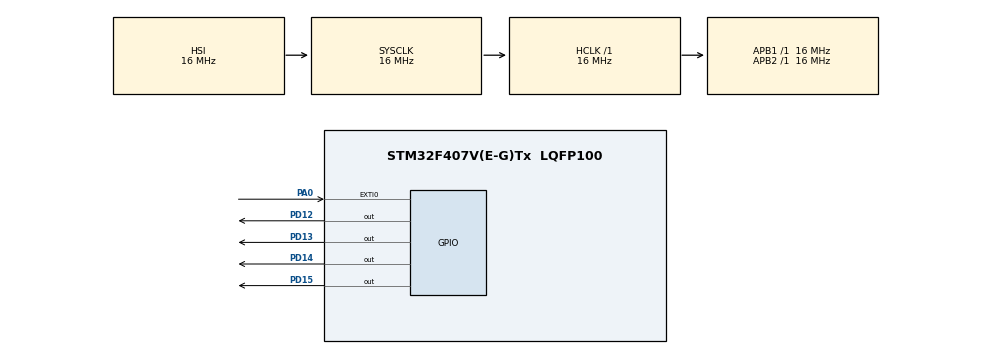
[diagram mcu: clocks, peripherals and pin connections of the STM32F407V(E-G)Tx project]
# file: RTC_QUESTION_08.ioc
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Mcu.Family=STM32F4
Mcu.Name=STM32F407V(E-G)Tx
Mcu.Package=LQFP100
NVIC.EXTI0_IRQn=true\:0\:0\:false\:false\:true\:true\:true\:true
NVIC.PriorityGroup=NVIC_PRIORITYGROUP_4
PA0-WKUP.Signal=GPXTI0
PD12.Signal=GPIO_Output
PD13.Signal=GPIO_Output
PD14.Signal=GPIO_Output
PD15.Signal=GPIO_Output
ProjectManager.HeapSize=0x200
ProjectManager.StackSize=0x400
ProjectManager.TargetToolchain=STM32CubeIDE
RCC.AHBFreq_Value=16000000
RCC.APB1Freq_Value=16000000
RCC.APB2Freq_Value=16000000
RCC.CortexFreq_Value=16000000
RCC.HSE_VALUE=25000000
RCC.HSI_VALUE=16000000
RCC.LSE_VALUE=32768
RCC.SYSCLKFreq_VALUE=16000000
RCC.VCOOutputFreq_Value=192000000
RTC.Date=29
RTC.Format=RTC_FORMAT_BIN
RTC.Hours=22
RTC.Minutes=0
RTC.Month=RTC_MONTH_OCTOBER
RTC.WeekDay=RTC_WEEKDAY_SUNDAY
VP_RTC_VS_RTC_Activate.Mode=RTC_Enabled
VP_RTC_VS_RTC_Calendar.Mode=RTC_Calendar
board=custom

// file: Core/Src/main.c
/* USER CODE BEGIN Header */
/**
  ******************************************************************************
  * @file           : main.c
  * @brief          : Main program body
  ******************************************************************************
  * @attention
  *
  * Copyright (c) 2026 STMicroelectronics.
  * All rights reserved.
  *
  * This software is licensed under terms that can be found in the LICENSE file
  * in the root directory of this software component.
  * If no LICENSE file comes with this software, it is provided AS-IS.
  *
  ******************************************************************************
  */
/* USER CODE END Header */
#include "main.h"

RTC_HandleTypeDef hrtc;

/* USER CODE BEGIN PV */
typedef struct {
	uint32_t event_number;
	RTC_TimeTypeDef time;
	RTC_DateTypeDef date;
}EventRecord ;

EventRecord log_buffer[5];
volatile uint8_t log_index = 0;
volatile uint32_t total_events = 0;

volatile int button_pressed_flag = 0;
volatile uint32_t last_interrupt_time = 0;
int error_state = 0;

/* USER CODE END PV */

void SystemClock_Config(void);
static void MX_GPIO_Init(void);
static void MX_RTC_Init(void);

int main(void)
{

  /* MCU Configuration--------------------------------------------------------*/

  /* Reset of all peripherals, Initializes the Flash interface and the Systick. */
  HAL_Init();

  /* Configure the system clock */
  SystemClock_Config();

  /* Initialize all configured peripherals */
  MX_GPIO_Init();
  MX_RTC_Init();
  /* USER CODE BEGIN 2 */

  HAL_GPIO_WritePin(GPIOD, GPIO_PIN_12, GPIO_PIN_SET);

  /* USER CODE END 2 */

  /* Infinite loop */
  while (1)
  {

    /* USER CODE BEGIN 3 */
	  if(button_pressed_flag)
	  {
		  button_pressed_flag = 0;

		  if(error_state)
		  {
			  error_state = 0;
			  HAL_GPIO_WritePin(GPIOD, GPIO_PIN_14, GPIO_PIN_RESET);
		  }

		  RTC_TimeTypeDef sTime;
		  RTC_DateTypeDef sDate;

		  if(HAL_RTC_GetTime(&hrtc, &sTime, RTC_FORMAT_BIN) != HAL_OK ||
				  HAL_RTC_GetDate(&hrtc, &sDate, RTC_FORMAT_BIN) != HAL_OK)
		  {
			  error_state = 1;
			  HAL_GPIO_WritePin(GPIOD, GPIO_PIN_14, GPIO_PIN_SET);
		  }
		  else{
			  total_events++;
			  log_buffer[log_index].event_number = total_events;
			  log_buffer[log_index].time = sTime;
			  log_buffer[log_index].date = sDate;

			  log_index = (log_index + 1) % 5;

			  HAL_GPIO_WritePin(GPIOD, GPIO_PIN_12, GPIO_PIN_RESET);
			  HAL_GPIO_WritePin(GPIOD, GPIO_PIN_13, GPIO_PIN_SET);
			  HAL_Delay(500);
			  HAL_GPIO_WritePin(GPIOD, GPIO_PIN_13, GPIO_PIN_RESET);

			  if (total_events % 5 == 0)
			  {
				  for(int i = 0; i < 3; i++)
				  {
					  HAL_GPIO_WritePin(GPIOD, GPIO_PIN_15, GPIO_PIN_SET);
					  HAL_Delay(200);
					  HAL_GPIO_WritePin(GPIOD, GPIO_PIN_15, GPIO_PIN_RESET);
					  HAL_Delay(200);
				  }

				  __NOP();
			  }
		  }
	  }

	  if (!error_state && !button_pressed_flag)
	  {
		  HAL_GPIO_WritePin(GPIOD, GPIO_PIN_12, GPIO_PIN_SET);
	  }
  }
  /* USER CODE END 3 */
}

void SystemClock_Config(void)
{
  RCC_OscInitTypeDef RCC_OscInitStruct = {0};
  RCC_ClkInitTypeDef RCC_ClkInitStruct = {0};

  /** Configure the main internal regulator output voltage
  */
  __HAL_RCC_PWR_CLK_ENABLE();
  __HAL_PWR_VOLTAGESCALING_CONFIG(PWR_REGULATOR_VOLTAGE_SCALE1);

  /** Initializes the RCC Oscillators according to the specified parameters
  * in the RCC_OscInitTypeDef structure.
  */
  RCC_OscInitStruct.OscillatorType = RCC_OSCILLATORTYPE_HSI|RCC_OSCILLATORTYPE_LSI;
  RCC_OscInitStruct.HSIState = RCC_HSI_ON;
  RCC_OscInitStruct.HSICalibrationValue = RCC_HSICALIBRATION_DEFAULT;
  RCC_OscInitStruct.LSIState = RCC_LSI_ON;
  RCC_OscInitStruct.PLL.PLLState = RCC_PLL_NONE;
  if (HAL_RCC_OscConfig(&RCC_OscInitStruct) != HAL_OK)
  {
    Error_Handler();
  }

  /** Initializes the CPU, AHB and APB buses clocks
  */
  RCC_ClkInitStruct.ClockType = RCC_CLOCKTYPE_HCLK|RCC_CLOCKTYPE_SYSCLK
                              |RCC_CLOCKTYPE_PCLK1|RCC_CLOCKTYPE_PCLK2;
  RCC_ClkInitStruct.SYSCLKSource = RCC_SYSCLKSOURCE_HSI;
  RCC_ClkInitStruct.AHBCLKDivider = RCC_SYSCLK_DIV1;
  RCC_ClkInitStruct.APB1CLKDivider = RCC_HCLK_DIV1;
  RCC_ClkInitStruct.APB2CLKDivider = RCC_HCLK_DIV1;

  if (HAL_RCC_ClockConfig(&RCC_ClkInitStruct, FLASH_LATENCY_0) != HAL_OK)
  {
    Error_Handler();
  }
}

static void MX_RTC_Init(void)
{

  RTC_TimeTypeDef sTime = {0};
  RTC_DateTypeDef sDate = {0};

  /** Initialize RTC Only
  */
  hrtc.Instance = RTC;
  hrtc.Init.HourFormat = RTC_HOURFORMAT_24;
  hrtc.Init.AsynchPrediv = 127;
  hrtc.Init.SynchPrediv = 255;
  hrtc.Init.OutPut = RTC_OUTPUT_DISABLE;
  hrtc.Init.OutPutPolarity = RTC_OUTPUT_POLARITY_HIGH;
  hrtc.Init.OutPutType = RTC_OUTPUT_TYPE_OPENDRAIN;
  if (HAL_RTC_Init(&hrtc) != HAL_OK)
  {
    Error_Handler();
  }

  /** Initialize RTC and set the Time and Date
  */
  sTime.Hours = 22;
  sTime.Minutes = 0;
  sTime.Seconds = 0;
  sTime.DayLightSaving = RTC_DAYLIGHTSAVING_NONE;
  sTime.StoreOperation = RTC_STOREOPERATION_RESET;
  if (HAL_RTC_SetTime(&hrtc, &sTime, RTC_FORMAT_BIN) != HAL_OK)
  {
    Error_Handler();
  }
  sDate.WeekDay = RTC_WEEKDAY_SUNDAY;
  sDate.Month = RTC_MONTH_OCTOBER;
  sDate.Date = 29;
  sDate.Year = 0;

  if (HAL_RTC_SetDate(&hrtc, &sDate, RTC_FORMAT_BIN) != HAL_OK)
  {
    Error_Handler();
  }

}

static void MX_GPIO_Init(void)
{
  GPIO_InitTypeDef GPIO_InitStruct = {0};

  /* GPIO Ports Clock Enable */
  __HAL_RCC_GPIOA_CLK_ENABLE();
  __HAL_RCC_GPIOD_CLK_ENABLE();

  /*Configure GPIO pin Output Level */
  HAL_GPIO_WritePin(GPIOD, GPIO_PIN_12|GPIO_PIN_13|GPIO_PIN_14|GPIO_PIN_15, GPIO_PIN_RESET);

  /*Configure GPIO pin : PA0 */
  GPIO_InitStruct.Pin = GPIO_PIN_0;
  GPIO_InitStruct.Mode = GPIO_MODE_IT_RISING;
  GPIO_InitStruct.Pull = GPIO_NOPULL;
  HAL_GPIO_Init(GPIOA, &GPIO_InitStruct);

  /*Configure GPIO pins : PD12 PD13 PD14 PD15 */
  GPIO_InitStruct.Pin = GPIO_PIN_12|GPIO_PIN_13|GPIO_PIN_14|GPIO_PIN_15;
  GPIO_InitStruct.Mode = GPIO_MODE_OUTPUT_PP;
  GPIO_InitStruct.Pull = GPIO_NOPULL;
  GPIO_InitStruct.Speed = GPIO_SPEED_FREQ_LOW;
  HAL_GPIO_Init(GPIOD, &GPIO_InitStruct);

  /* EXTI interrupt init*/
  HAL_NVIC_SetPriority(EXTI0_IRQn, 0, 0);
  HAL_NVIC_EnableIRQ(EXTI0_IRQn);

}

/* USER CODE BEGIN 4 */
void HAL_GPIO_EXTI_Callback(uint16_t GPIO_Pin)
{
    if (GPIO_Pin == GPIO_PIN_0)
    {
        uint32_t current_time = HAL_GetTick();

        // Software Debounce: Ignore extra edges within 200ms of the first press
        if ((current_time - last_interrupt_time) > 200)
        {
            button_pressed_flag = 1;
            last_interrupt_time = current_time;
        }
    }
}

/* USER CODE END 4 */

void Error_Handler(void)
{
  __disable_irq();
  while (1)
  {
  }
}
